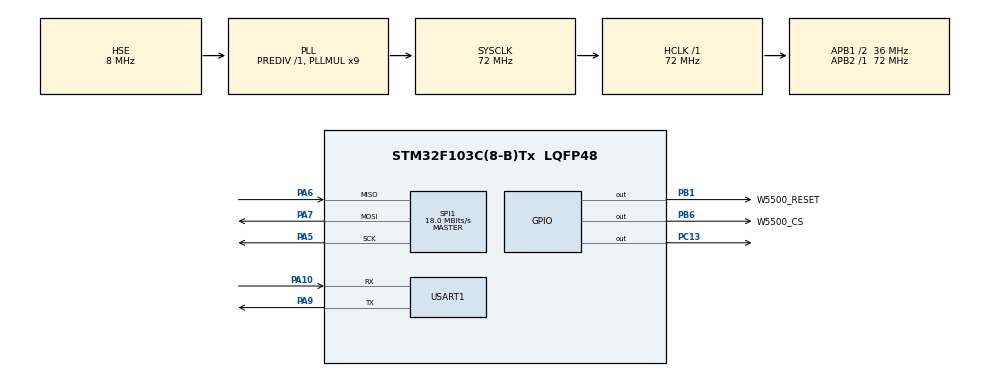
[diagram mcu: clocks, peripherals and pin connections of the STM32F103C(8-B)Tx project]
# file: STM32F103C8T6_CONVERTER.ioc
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Dma.Request0=USART1_TX
Dma.USART1_TX.0.Direction=DMA_MEMORY_TO_PERIPH
Dma.USART1_TX.0.Instance=DMA1_Channel4
Dma.USART1_TX.0.MemDataAlignment=DMA_MDATAALIGN_BYTE
Dma.USART1_TX.0.MemInc=DMA_MINC_ENABLE
Dma.USART1_TX.0.Mode=DMA_NORMAL
Dma.USART1_TX.0.PeriphDataAlignment=DMA_PDATAALIGN_BYTE
Dma.USART1_TX.0.PeriphInc=DMA_PINC_DISABLE
Dma.USART1_TX.0.Priority=DMA_PRIORITY_LOW
Mcu.Family=STM32F1
Mcu.Name=STM32F103C(8-B)Tx
Mcu.Package=LQFP48
NVIC.DMA1_Channel4_IRQn=true\:0\:0\:false\:false\:true\:false\:true
NVIC.PriorityGroup=NVIC_PRIORITYGROUP_4
NVIC.USART1_IRQn=true\:0\:0\:false\:false\:true\:true\:true
PA10.Mode=Asynchronous
PA10.Signal=USART1_RX
PA13.Mode=Serial_Wire
PA13.Signal=SYS_JTMS-SWDIO
PA14.Mode=Serial_Wire
PA14.Signal=SYS_JTCK-SWCLK
PA5.Mode=Full_Duplex_Master
PA5.Signal=SPI1_SCK
PA6.Mode=Full_Duplex_Master
PA6.Signal=SPI1_MISO
PA7.Mode=Full_Duplex_Master
PA7.Signal=SPI1_MOSI
PA9.Mode=Asynchronous
PA9.Signal=USART1_TX
PB1.GPIO_Label=W5500_RESET
PB1.GPIO_Speed=GPIO_SPEED_FREQ_HIGH
PB1.Signal=GPIO_Output
PB6.GPIO_Label=W5500_CS
PB6.GPIO_Speed=GPIO_SPEED_FREQ_HIGH
PB6.Signal=GPIO_Output
PC13-TAMPER-RTC.GPIO_Speed=GPIO_SPEED_FREQ_LOW
PC13-TAMPER-RTC.Signal=GPIO_Output
PD0-OSC_IN.Mode=HSE-External-Oscillator
PD0-OSC_IN.Signal=RCC_OSC_IN
PD1-OSC_OUT.Mode=HSE-External-Oscillator
PD1-OSC_OUT.Signal=RCC_OSC_OUT
ProjectManager.HeapSize=0x200
ProjectManager.StackSize=0x400
ProjectManager.TargetToolchain=STM32CubeIDE
RCC.AHBFreq_Value=72000000
RCC.APB1CLKDivider=RCC_HCLK_DIV2
RCC.APB1Freq_Value=36000000
RCC.APB1TimFreq_Value=72000000
RCC.APB2Freq_Value=72000000
RCC.APB2TimFreq_Value=72000000
RCC.HCLKFreq_Value=72000000
RCC.PLLMUL=RCC_PLL_MUL9
RCC.PLLSourceVirtual=RCC_PLLSOURCE_HSE
RCC.SYSCLKFreq_VALUE=72000000
RCC.SYSCLKSource=RCC_SYSCLKSOURCE_PLLCLK
RCC.USBFreq_Value=72000000
SPI1.BaudRatePrescaler=SPI_BAUDRATEPRESCALER_4
SPI1.CalculateBaudRate=18.0 MBits/s
SPI1.Direction=SPI_DIRECTION_2LINES
SPI1.Mode=SPI_MODE_MASTER
SPI1.VirtualType=VM_MASTER
USART1.VirtualMode=VM_ASYNC
board=custom

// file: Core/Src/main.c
/* USER CODE BEGIN Header */
/**
  ******************************************************************************
  * @file           : main.c
  * @brief          : Main program body
  ******************************************************************************
  * @attention
  *
  * Copyright (c) 2023 STMicroelectronics.
  * All rights reserved.
  *
  * This software is licensed under terms that can be found in the LICENSE file
  * in the root directory of this software component.
  * If no LICENSE file comes with this software, it is provided AS-IS.
  *
  ******************************************************************************
  */

#include "socket.h"
#include "w5500.h"
#include "net.h"
/* USER CODE END Header */
#include "main.h"

/* USER CODE BEGIN PTD */

#define delayUS_ASM(us) do {                           \
asm volatile ("MOV R0,%[loops]\n                       \
              1: \n                                    \
              SUB R0, #1\n                             \
              CMP R0, #0\n                             \
              BNE 1b \t"                               \
              : : [loops] "r" (8*us) : "memory"        \
              );                                       \
} while(0)
/* USER CODE END PTD */

SPI_HandleTypeDef hspi1;

UART_HandleTypeDef huart1;
DMA_HandleTypeDef hdma_usart1_tx;

void SystemClock_Config(void);
static void MX_GPIO_Init(void);
static void MX_SPI1_Init(void);
static void MX_DMA_Init(void);
static void MX_USART1_UART_Init(void);

int main(void)
{

  /* MCU Configuration--------------------------------------------------------*/

  /* Reset of all peripherals, Initializes the Flash interface and the Systick. */
  HAL_Init();

  /* Configure the system clock */
  SystemClock_Config();

  /* Initialize all configured peripherals */
  MX_GPIO_Init();
  MX_SPI1_Init();
  MX_DMA_Init();
  MX_USART1_UART_Init();
  /* USER CODE BEGIN 2 */
    net_ini();
  /* USER CODE END 2 */

  /* Infinite loop */
  /* USER CODE BEGIN WHILE */
  const char data[20] = "data\r\n";
  uint8_t sn = 0;
    socket(sn, Sn_MR_UDP, 9999, SF_UNI_BLOCK);
    uint8_t ip_adr[4] = {192,168,1,17};
    HAL_GPIO_WritePin(GPIOB, GPIO_PIN_6, GPIO_PIN_RESET);
  while (1)
  {
//      sendto(sn, "12345678\r\n", 10, ip_adr, 9899);
	  HAL_GPIO_WritePin(GPIOC, GPIO_PIN_13, GPIO_PIN_SET);
      HAL_UART_Transmit_DMA(&huart1,(uint8_t *)data, 6);
      delayUS_ASM(8000000);
	  HAL_GPIO_WritePin(GPIOC, GPIO_PIN_13, GPIO_PIN_RESET);
      delayUS_ASM(200000); //0.2сек
      net_poll();
    /* USER CODE END WHILE */

  }
}

void SystemClock_Config(void)
{
  RCC_OscInitTypeDef RCC_OscInitStruct = {0};
  RCC_ClkInitTypeDef RCC_ClkInitStruct = {0};

  /** Initializes the RCC Oscillators according to the specified parameters
  * in the RCC_OscInitTypeDef structure.
  */
  RCC_OscInitStruct.OscillatorType = RCC_OSCILLATORTYPE_HSE;
  RCC_OscInitStruct.HSEState = RCC_HSE_ON;
  RCC_OscInitStruct.HSEPredivValue = RCC_HSE_PREDIV_DIV1;
  RCC_OscInitStruct.HSIState = RCC_HSI_ON;
  RCC_OscInitStruct.PLL.PLLState = RCC_PLL_ON;
  RCC_OscInitStruct.PLL.PLLSource = RCC_PLLSOURCE_HSE;
  RCC_OscInitStruct.PLL.PLLMUL = RCC_PLL_MUL9;
  if (HAL_RCC_OscConfig(&RCC_OscInitStruct) != HAL_OK)
  {
    Error_Handler();
  }
  /** Initializes the CPU, AHB and APB buses clocks
  */
  RCC_ClkInitStruct.ClockType = RCC_CLOCKTYPE_HCLK|RCC_CLOCKTYPE_SYSCLK
                              |RCC_CLOCKTYPE_PCLK1|RCC_CLOCKTYPE_PCLK2;
  RCC_ClkInitStruct.SYSCLKSource = RCC_SYSCLKSOURCE_PLLCLK;
  RCC_ClkInitStruct.AHBCLKDivider = RCC_SYSCLK_DIV1;
  RCC_ClkInitStruct.APB1CLKDivider = RCC_HCLK_DIV2;
  RCC_ClkInitStruct.APB2CLKDivider = RCC_HCLK_DIV1;

  if (HAL_RCC_ClockConfig(&RCC_ClkInitStruct, FLASH_LATENCY_2) != HAL_OK)
  {
    Error_Handler();
  }
}

static void MX_SPI1_Init(void)
{

  /* SPI1 parameter configuration*/
  hspi1.Instance = SPI1;
  hspi1.Init.Mode = SPI_MODE_MASTER;
  hspi1.Init.Direction = SPI_DIRECTION_2LINES;
  hspi1.Init.DataSize = SPI_DATASIZE_8BIT;
  hspi1.Init.CLKPolarity = SPI_POLARITY_LOW;
  hspi1.Init.CLKPhase = SPI_PHASE_1EDGE;
  hspi1.Init.NSS = SPI_NSS_SOFT;
  hspi1.Init.BaudRatePrescaler = SPI_BAUDRATEPRESCALER_4;
  hspi1.Init.FirstBit = SPI_FIRSTBIT_MSB;
  hspi1.Init.TIMode = SPI_TIMODE_DISABLE;
  hspi1.Init.CRCCalculation = SPI_CRCCALCULATION_DISABLE;
  hspi1.Init.CRCPolynomial = 10;
  if (HAL_SPI_Init(&hspi1) != HAL_OK)
  {
    Error_Handler();
  }

}

static void MX_USART1_UART_Init(void)
{

  huart1.Instance = USART1;
  huart1.Init.BaudRate = 230400;
  huart1.Init.WordLength = UART_WORDLENGTH_8B;
  huart1.Init.StopBits = UART_STOPBITS_1;
  huart1.Init.Parity = UART_PARITY_NONE;
  huart1.Init.Mode = UART_MODE_TX_RX;
  huart1.Init.HwFlowCtl = UART_HWCONTROL_NONE;
  huart1.Init.OverSampling = UART_OVERSAMPLING_16;
  if (HAL_UART_Init(&huart1) != HAL_OK)
  {
    Error_Handler();
  }

}

static void MX_DMA_Init(void)
{

  /* DMA controller clock enable */
  __HAL_RCC_DMA1_CLK_ENABLE();

  /* DMA interrupt init */
  /* DMA1_Channel4_IRQn interrupt configuration */
  HAL_NVIC_SetPriority(DMA1_Channel4_IRQn, 0, 0);
  HAL_NVIC_EnableIRQ(DMA1_Channel4_IRQn);

}

static void MX_GPIO_Init(void)
{
  GPIO_InitTypeDef GPIO_InitStruct = {0};

  /* GPIO Ports Clock Enable */
  __HAL_RCC_GPIOC_CLK_ENABLE();
  __HAL_RCC_GPIOD_CLK_ENABLE();
  __HAL_RCC_GPIOA_CLK_ENABLE();
  __HAL_RCC_GPIOB_CLK_ENABLE();

  /*Configure GPIO pin Output Level */
  HAL_GPIO_WritePin(GPIOC, GPIO_PIN_13, GPIO_PIN_RESET);

  /*Configure GPIO pin Output Level */
  HAL_GPIO_WritePin(GPIOB, W5500_RESET_Pin|W5500_CS_Pin, GPIO_PIN_RESET);

  /*Configure GPIO pin : PC13 */
  GPIO_InitStruct.Pin = GPIO_PIN_13;
  GPIO_InitStruct.Mode = GPIO_MODE_OUTPUT_PP;
  GPIO_InitStruct.Pull = GPIO_NOPULL;
  GPIO_InitStruct.Speed = GPIO_SPEED_FREQ_LOW;
  HAL_GPIO_Init(GPIOC, &GPIO_InitStruct);

  /*Configure GPIO pins : W5500_RESET_Pin W5500_CS_Pin */
  GPIO_InitStruct.Pin = W5500_RESET_Pin|W5500_CS_Pin;
  GPIO_InitStruct.Mode = GPIO_MODE_OUTPUT_PP;
  GPIO_InitStruct.Pull = GPIO_NOPULL;
  GPIO_InitStruct.Speed = GPIO_SPEED_FREQ_HIGH;
  HAL_GPIO_Init(GPIOB, &GPIO_InitStruct);

}

void Error_Handler(void)
{
  __disable_irq();
  while (1)
  {
  }
}
